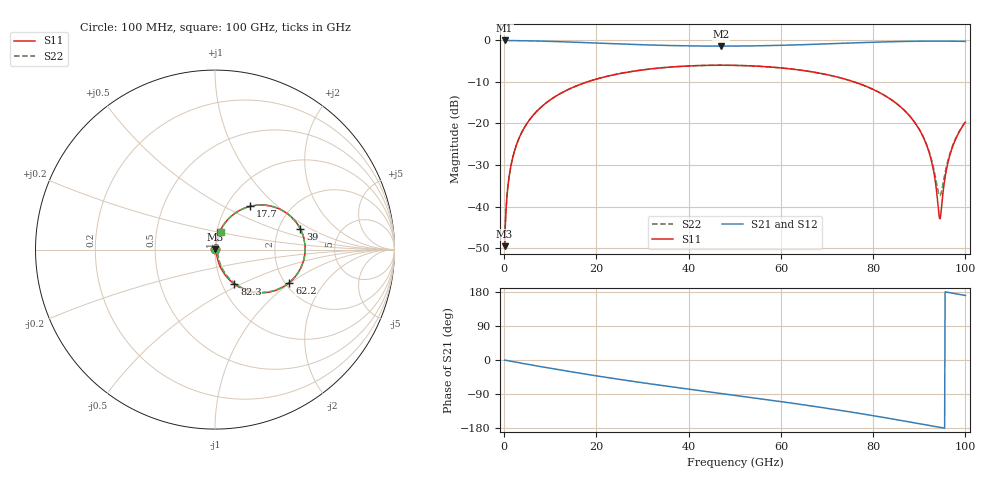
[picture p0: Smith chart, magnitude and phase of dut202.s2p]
! Touchstone file exported from HFSS 2026.1.0
!  File:  C:/ffzhzh/LocalFiles/Ansys_Project_Files/temp_train_RDL_202_1783500704_41296.aedt
!  Generated:  04:53:06 PM Jul  8, 2026
!  Design:  RDL
!  Project:  temp_train_RDL_202_1783500704_41296
! Variables:
!  h_bsmrdl = 2um
!  h_ox = 20um
!  h_rdl = 5um
!  h_sub = 80um
!  h_tmrdl = 4.56um
!  h_tsv = 80um
!  h_via = 3um
!  l_bsmrdl = 300um
!  l_sub = 1038.48um
!  l_tmrdl = 638.48um
!  m_sub = 200um
!  pitch = 45.51um
!  r_tsv = 6um
!  s_tmrdl = 10um
!  w_bsmrdl = 18um
!  w_sub = 500um
!  w_tmrdl = 22.19um
!  x_tsv_center1 = 649.575um
!  x_tsv_center2 = 967.575um
!  x_tsv_center3 = 1628.245um
!  x_tsv_center4 = 1946.245um
!  x_tsv_center5 = 2606.915um
!  x_tsv_center6 = 2924.915um
# GHz S MA R 50.000000
! Terminal data exported
! Port[1] = TM_RDL1_1_T1
! Port[2] = TM_RDL1_1_T2
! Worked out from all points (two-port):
!   1000 points, 100 MHz to 100 GHz, reference 50 ohm
!   highest |S21| = -0.02 dB at 100 MHz (marker M1); lowest = -1.4 dB at 47 GHz (marker M2)
!   |S21| within 3 dB of the highest: start of sweep to end of sweep
!   lowest |S11| = -49.5 dB at 100 MHz (marker M3), VSWR 1.01, Z = 50.2 + j0.232 ohm
!   |S11| at or under -10 dB: start of sweep to 18 GHz; 75.9 GHz to end of sweep
!   |S22| runs from -49.5 to -6.0 dB; largest |S21 - S12| = 1.7e-14
!   S11 on the Smith chart (normalised r, x): 100 MHz: 1.00, +0.00; 17.7 GHz: 1.29, +0.69; 39 GHz: 2.64, +0.80; 62.2 GHz: 2.11, -0.98; 82.3 GHz: 1.14, -0.46; 100 GHz: 1.03, +0.21
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0.1  0.003345 43.6  0.9976 -0.2  0.9976 -0.2  0.003345 43.6
! Gamma 0 0 0 0
! Port Impedance 50 0 50 0
0.8  0.01718 78.0  0.9968 -1.8  0.9968 -1.8  0.01718 78.0
1.4  0.02946 80.4  0.9963 -3.2  0.9963 -3.2  0.02946 80.4
4  0.0818 77.5  0.9916 -8.9  0.9916 -8.9  0.0818 77.5
9  0.1751 67.6  0.9764 -19.7  0.9764 -19.7  0.1751 67.6
16.8  0.2996 52.4  0.9435 -35.6  0.9435 -35.6  0.2996 52.4
17.7  0.3121 50.7  0.9394 -37.4  0.9394 -37.4  0.3121 50.7
33.4  0.4637 22.8  0.8742 -65.9  0.8742 -65.9  0.4636 22.9
39  0.4892 13.6  0.8604 -75.2  0.8604 -75.2  0.4891 13.7
47  0.5024 0.8  0.8528 -88.3  0.8528 -88.3  0.5023 0.9
50.1  0.5003 -4.1  0.8539 -93.3  0.8539 -93.3  0.5003 -4.0
62.2  0.4531 -23.9  0.8786 -113.5  0.8786 -113.5  0.4531 -23.7
66.7  0.4185 -31.7  0.8946 -121.4  0.8946 -121.4  0.4184 -31.4
82.3  0.2206 -60.7  0.9581 -151.7  0.9581 -151.7  0.2207 -59.5
83.4  0.2024 -62.8  0.9617 -154.0  0.9617 -154.0  0.2025 -61.5
87.9  0.1234 -70.9  0.9735 -163.5  0.9735 -163.5  0.1237 -68.4
91  0.06606 -74.7  0.9781 -170.2  0.9781 -170.2  0.06688 -69.6
92.8  0.03246 -72.0  0.9793 -174.1  0.9793 -174.1  0.03428 -61.9
94.4  0.007232 -8.5  0.9795 -177.6  0.9795 -177.6  0.01357 -3.3
94.8  0.009504 42.5  0.9793 -178.4  0.9793 -178.4  0.01499 26.1
96.8  0.04471 77.5  0.978 177.2  0.978 177.2  0.04632 69.3
100  0.1039 75.9  0.973 170.3  0.973 170.3  0.1046 72.0
